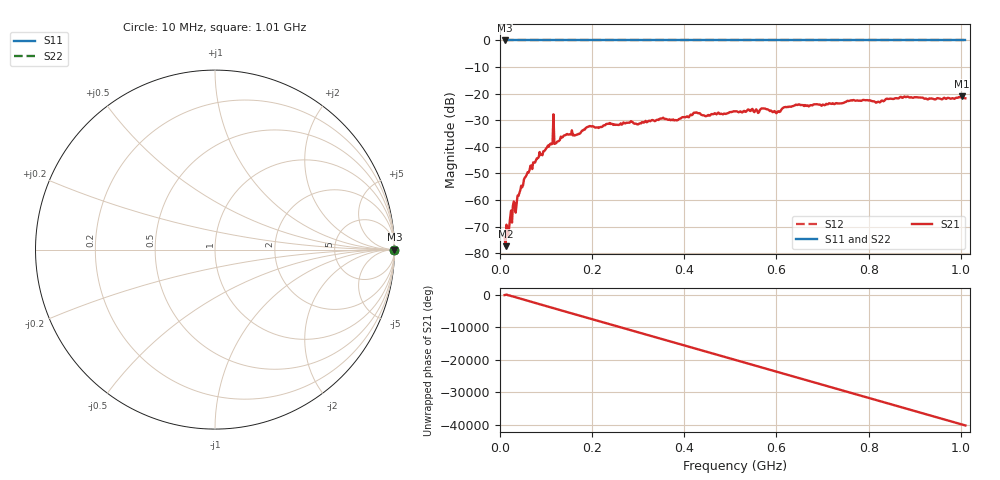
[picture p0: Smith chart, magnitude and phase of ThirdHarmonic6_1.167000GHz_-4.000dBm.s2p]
! 8/16/2025 11:45:55 AM
! C:\ANRITSUVNA\TEMP\TEMP.S2P
! CHANNEL.1
! TR.MEASUREMENT
! RAW.DATA
! RF.CORRECTION.OFF
! AVERAGING.OFF
! IF.BANDWIDTH: 5KHZ
! SWEEPTYPE:  FREQ.SWEEP(Linear)
! Reference Plane Port Info
! PORT:  PORT1  PORT2
! DISTANCE:  0  m  0  m
! TIME:  0  s  0  s
! PHASE.OFFSET:  0  deg.  0  deg.
! LOSS:  0  dB  0  dB
! REF.LOSS:  0  dB  0  dB
! REF.FREQ:  0  Hz  0  Hz
! Power Info
! POWER:  -20  dBm  -20  dBm
! EFF.POWER:  -20  dBm  -20  dBm
! SOURCE.ATTEN:  0  dB  0  dB
! TEST.ATTEN:  0  dB  0  dB
# GHZ S RI R 50.0
! FREQ.GHZ  S11RE  S11IM  S21RE  S21IM  S12RE  S12IM  S22RE  S22IM
!; PortSelection: Port_12
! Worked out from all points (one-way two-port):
!   501 points, 10 MHz to 1.01 GHz, reference 50 ohm
!   highest |S21| = -21.06 dB at 1.002 GHz (marker M1); lowest = -77.4 dB at 12 MHz (marker M2)
!   lowest |S11| = 0.0 dB at 10 MHz (marker M3)
!   |S11| at or under -10 dB: nowhere
!   |S22| runs from 0.0 to 0.0 dB; largest |S21 - S12| = 1.1
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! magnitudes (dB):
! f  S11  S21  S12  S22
! 10 MHz  0.0  -74.1  0.0  0.0
! 12 MHz  0.0  -77.4  0.0  0.0
! 16 MHz  0.0  -72.3  0.0  0.0
! 28 MHz  0.0  -62.2  0.0  0.0
! 56 MHz  0.0  -51.2  0.0  0.0
! 82 MHz  0.0  -44.3  0.0  0.0
! 110 MHz  0.0  -38.8  0.0  0.0
! 112 MHz  0.0  -39.1  0.0  0.0
! 120 MHz  0.0  -38.7  0.0  0.0
! 122 MHz  0.0  -38.6  0.0  0.0
! 142 MHz  0.0  -35.6  0.0  0.0
! 178 MHz  0.0  -33.9  0.0  0.0
! 194 MHz  0.0  -32.2  0.0  0.0
! 344 MHz  0.0  -29.9  0.0  0.0
! 510 MHz  0.0  -26.7  0.0  0.0
! 572 MHz  0.0  -25.6  0.0  0.0
! 602 MHz  0.0  -26.8  0.0  0.0
! 620 MHz  0.0  -25.0  0.0  0.0
! 678 MHz  0.0  -24.4  0.0  0.0
! 844 MHz  0.0  -22.0  0.0  0.0
! 1.002 GHz  0.0  -21.1  0.0  0.0
! 1.01 GHz  0.0  -21.8  0.0  0.0
